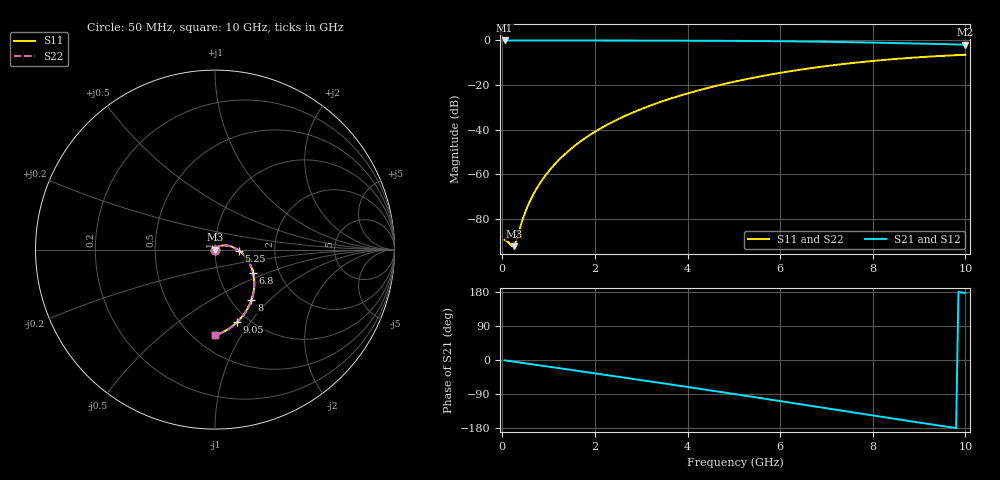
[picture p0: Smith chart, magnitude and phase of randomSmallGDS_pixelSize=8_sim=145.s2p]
! freq	dB(S11)	phase(S11)	dB(S12)	phase(S12)
!  dB(S21)	phase(S21)	dB(S22)	phase(S22)
!S-par simulation data
#  GHz  S  DB  R 50
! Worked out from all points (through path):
!   200 points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, 50 MHz to 10 GHz, reference 50 ohm
!   highest |S21| = 0.00 dB at 50 MHz (marker M1); lowest = -1.9 dB at 10 GHz (marker M2)
!   group delay of S21, straight-line fit = 51.3 ps
!   lowest |S11| = -92.4 dB at 250 MHz (marker M3), VSWR 1.00, Z = 50 + j0.00152 ohm
!   |S11| at or under -10 dB: start of sweep to 7.616 GHz
!   |S22| runs from -92.4 to -6.4 dB; largest |S21 - S12| = 0
!   S11 on the Smith chart (normalised r, x): 50 MHz: 1.00, -0.00; 5.25 GHz: 1.31, -0.02; 6.8 GHz: 1.47, -0.41; 8 GHz: 1.23, -0.79; 9.05 GHz: 0.88, -0.87; 10 GHz: 0.63, -0.78
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0.05  -89.55 -1.3  -0.00 -0.9  -0.00 -0.9  -89.55 -1.3
0.25  -92.39 39.2  -0.00 -4.4  -0.00 -4.4  -92.45 39.7
0.45  -79.70 93.2  -0.01 -8.0  -0.01 -8.0  -79.68 93.7
0.55  -74.31 94.4  -0.01 -9.7  -0.01 -9.7  -74.30 94.8
0.65  -69.92 92.8  -0.01 -11.5  -0.01 -11.5  -69.91 93.1
0.8  -64.54 89.1  -0.02 -14.1  -0.02 -14.1  -64.53 89.4
0.95  -60.10 85.1  -0.02 -16.8  -0.02 -16.8  -60.10 85.3
1.3  -52.04 76.2  -0.03 -22.9  -0.03 -22.9  -52.03 76.3
1.75  -44.41 65.8  -0.03 -30.8  -0.03 -30.8  -44.41 65.9
2.1  -39.77 58.3  -0.04 -37.0  -0.04 -37.0  -39.77 58.4
2.5  -35.37 50.1  -0.05 -44.1  -0.05 -44.1  -35.36 50.2
3.4  -27.72 32.5  -0.08 -60.3  -0.08 -60.3  -27.72 32.6
4.25  -22.34 16.4  -0.12 -75.7  -0.12 -75.7  -22.34 16.5
5.05  -18.33 1.4  -0.20 -90.6  -0.20 -90.6  -18.33 1.4
5.25  -17.46 -2.4  -0.22 -94.3  -0.22 -94.3  -17.46 -2.4
5.95  -14.73 -15.6  -0.34 -107.5  -0.34 -107.5  -14.73 -15.6
6.7  -12.33 -29.8  -0.51 -121.8  -0.51 -121.8  -12.32 -29.8
6.8  -12.04 -31.7  -0.54 -123.7  -0.54 -123.7  -12.04 -31.7
8  -9.20 -54.2  -0.95 -146.5  -0.95 -146.5  -9.20 -54.1
8.35  -8.55 -60.6  -1.10 -153.1  -1.10 -153.1  -8.55 -60.6
9.05  -7.47 -73.2  -1.42 -166.0  -1.42 -166.0  -7.47 -73.2
10  -6.42 -89.8  -1.88 176.7  -1.88 176.7  -6.42 -89.7
